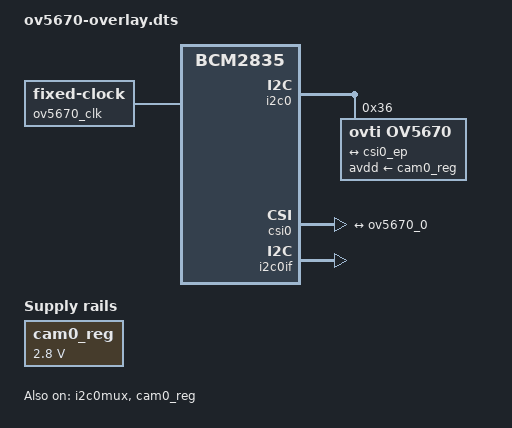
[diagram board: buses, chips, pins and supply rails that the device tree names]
// SPDX-License-Identifier: GPL-2.0-only
// Definitions for OV5670 camera module on VC I2C bus
/dts-v1/;
/plugin/;

/{
	compatible = "brcm,bcm2835";

	fragment@0 {
		target = <&i2c0>;
		__overlay__ {
			#address-cells = <1>;
			#size-cells = <0>;
			status = "okay";

			ov5670: ov5670@36 {
				compatible = "ovti,ov5670";
				reg = <0x36>;
				clocks = <&ov5670_clk>;
				avdd-supply = <&cam0_reg>;
				rotation = <0>;
				orientation = <2>;
				status = "okay";
				port {
					ov5670_0: endpoint {
						remote-endpoint = <&csi0_ep>;
						clock-lanes = <0>;
						data-lanes = <1 2>;
						clock-noncontinuous;
						link-frequencies =
							/bits/ 64 <297000000>;
					};
				};
			};
		};
	};

	fragment@1 {
		target = <&csi0>;
		__overlay__ {
			status = "okay";

			port {
				csi0_ep: endpoint {
					remote-endpoint = <&ov5670_0>;
					data-lanes = <1 2>;
				};
			};
		};
	};

	fragment@2 {
		target = <&i2c0if>;
		__overlay__ {
			status = "okay";
		};
	};

	fragment@3 {
		target = <&i2c0mux>;
		__overlay__ {
			status = "okay";
		};
	};

	fragment@4 {
		target = <&cam0_reg>;
		__overlay__ {
			status = "okay";
			regulator-name = "ov5670_avdd";
			regulator-min-microvolt = <2800000>;
			regulator-max-microvolt = <2800000>;
		};
	};

	fragment@5 {
		target-path = "/";
		__overlay__ {
			ov5670_clk: camera-clk {
				compatible = "fixed-clock";
				#clock-cells = <0>;
				clock-frequency = <25000000>;
			};
		};
	};

	__overrides__ {
		rotation = <&ov5670>,"rotation:0";
		orientation = <&ov5670>,"orientation:0";
	};
};
